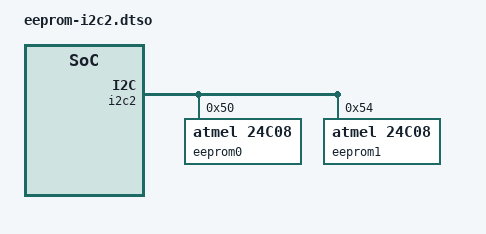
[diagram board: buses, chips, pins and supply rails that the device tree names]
// Use *TWO* 24C08 EEPROMs on i2c2
// Note that on most boards another fragment must enable the I2C-2 Bus
/dts-v1/;
/plugin/;

/ {
	fragment@0 {
		target = <&i2c2>;
		__overlay__ {
			#address-cells = <1>;
			#size-cells = <0>;

			eeprom0: eeprom@50 {
				compatible = "atmel,24c08";
				reg = <0x50>;
				pagesize = <16>;
			};
			eeprom1: eeprom@54 {
				compatible = "atmel,24c08";
				reg = <0x54>;
				pagesize = <16>;
			};
		};
	};
};

